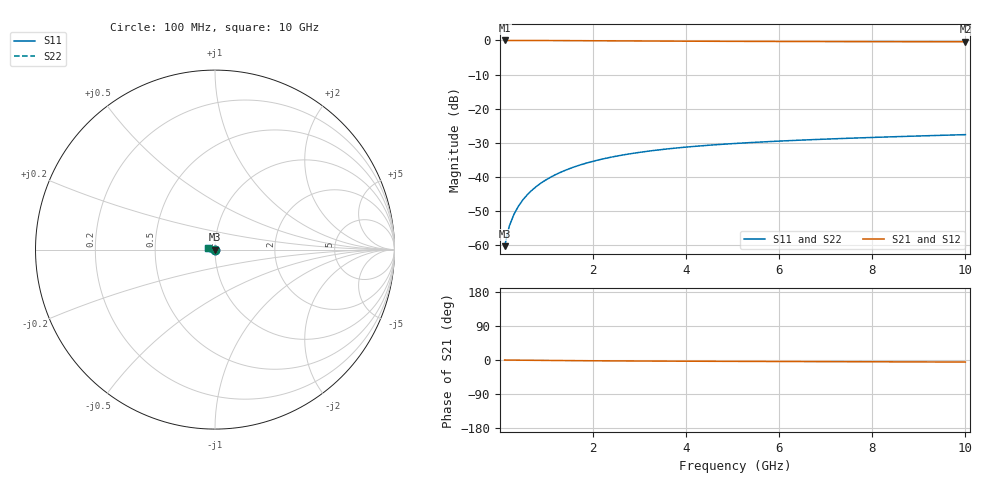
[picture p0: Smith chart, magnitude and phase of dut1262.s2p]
! Touchstone file exported from HFSS 2024.1.0
!  File:  C:/UserFiles/LocalFiles/RDL_TSV_Batchsim/temp_TSV1_1262_1780253528.aedt
!  Generated:  02:57:33 AM Jun  1, 2026
!  Design:  TSV1
!  Project:  temp_TSV1_1262_1780253528
!  Setup:  Setup1
!  Solution:  Sweep
! Variables:
!  dtsv = 7.57um
!  hbump = 3um
!  htsv = 83.92um
!  lrdl = 252.1521522um
!  p = 40
!  p1 = 46.42um
!  t = 500um
!  trdl = 3um
!  wrdl = 24.89489489um
# GHz S MA R 50.000000
! Terminal data exported
! Port[1] = TSV22_T1
! Port[2] = TSV22_T2
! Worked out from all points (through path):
!   100 points, 100 MHz to 10 GHz, reference 50 ohm
!   highest |S21| = 0.00 dB at 100 MHz (marker M1); lowest = -0.4 dB at 10 GHz (marker M2)
!   lowest |S11| = -60.3 dB at 100 MHz (marker M3), VSWR 1.00, Z = 50 - j0.0938 ohm
!   |S11| at or under -10 dB: start of sweep to end of sweep
!   |S22| runs from -60.3 to -27.6 dB; largest |S21 - S12| = 2.1e-15
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0.1  0.0009654 -76.2  0.9997 -0.1  0.9997 -0.1  0.0009654 -76.2
! Gamma 0 0 0 0
! Port Impedance 50 0 50 0
0.2  0.001892 -85.6  0.9996 -0.2  0.9996 -0.2  0.001892 -85.6
0.3  0.002825 -90.1  0.9994 -0.3  0.9994 -0.3  0.002825 -90.1
0.4  0.003755 -93.2  0.9992 -0.5  0.9992 -0.5  0.003755 -93.2
0.5  0.004679 -95.8  0.9989 -0.6  0.9989 -0.6  0.004679 -95.8
0.6  0.005595 -98.2  0.9986 -0.7  0.9986 -0.7  0.005595 -98.2
0.7  0.006501 -100.4  0.9982 -0.8  0.9982 -0.8  0.006501 -100.4
0.8  0.007397 -102.4  0.9978 -0.9  0.9978 -0.9  0.007397 -102.4
0.9  0.00828 -104.4  0.9973 -1.0  0.9973 -1.0  0.00828 -104.4
1.1  0.01 -108.2  0.9963 -1.2  0.9963 -1.2  0.01 -108.2
1.4  0.01247 -113.6  0.9944 -1.5  0.9944 -1.5  0.01247 -113.6
1.6  0.01403 -117.0  0.993 -1.7  0.993 -1.7  0.01403 -117.0
1.8  0.01552 -120.3  0.9915 -1.8  0.9915 -1.8  0.01552 -120.3
2.1  0.0176 -125.0  0.9892 -2.1  0.9892 -2.1  0.0176 -125.0
2.5  0.02013 -130.9  0.9861 -2.4  0.9861 -2.4  0.02013 -130.9
2.9  0.02237 -136.4  0.983 -2.6  0.983 -2.6  0.02237 -136.4
3.4  0.02483 -142.7  0.9794 -2.9  0.9794 -2.9  0.02483 -142.7
4.2  0.02809 -151.6  0.9743 -3.3  0.9743 -3.3  0.02809 -151.6
5.1  0.03104 -160.3  0.9696 -3.6  0.9696 -3.6  0.03104 -160.3
6.7  0.03513 -173.1  0.9634 -4.2  0.9634 -4.2  0.03513 -173.1
8.4  0.03865 176.0  0.959 -4.8  0.959 -4.8  0.03865 176.0
10  0.04164 167.4  0.9561 -5.4  0.9561 -5.4  0.04164 167.4
